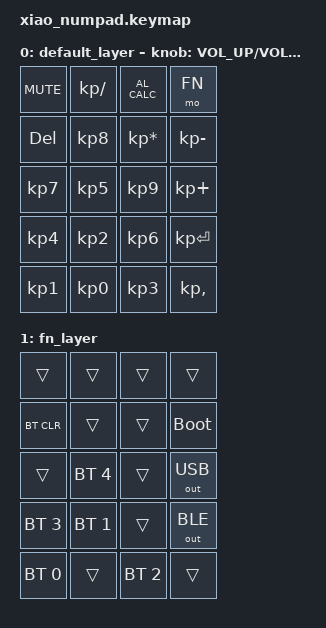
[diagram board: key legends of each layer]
#include <behaviors.dtsi>
#include <dt-bindings/zmk/keys.h>
#include <dt-bindings/zmk/bt.h>
#include <dt-bindings/zmk/outputs.h>

// Layers
#define DEFAULT 0
#define FN 1

/ {  
  keymap {
    compatible = "zmk,keymap";

    /* Default Layer
     * .---------------------------.
     * |  ENC | XIAO | CALC |  FN  |
     * |------+------+------+------|
     * |  DEL |   /  |   *  |   -  |
     * |------+------+------+------|
     * |   7  |   8  |   9  |      |
     * |------+------+------+   +  |
     * |   4  |   5  |   6  |      |
     * |------+------+------+------|
     * |   1  |   2  |   3  |   E  |
     * |------+------+------|   N  |
     * |      0      |   ,  |   T  |
     * '---------------------------'
     */

    default_layer {
      bindings = <
        &kp K_MUTE      &kp KP_DIVIDE   &kp C_AL_CALC     &mo FN
        &kp DEL         &kp KP_N8       &kp KP_MULTIPLY   &kp KP_MINUS
        &kp KP_N7       &kp KP_N5       &kp KP_N9         &kp KP_PLUS
        &kp KP_N4       &kp KP_N2       &kp KP_N6         &kp KP_ENTER
        &kp KP_N1       &kp KP_N0       &kp KP_N3         &kp KP_COMMA
      >;

      sensor-bindings = <
        &inc_dec_kp C_VOL_UP C_VOL_DN
      >;
    }; 
    
    /* Function Layer
     * .---------------------------.
     * | ENC  | XIAO |      |      |
     * |------+------+------+------|
     * | BT-C |      |      | BOOT |
     * |------+------+------+------|
     * |      |      |      | OUT  |
     * |------+------+------+      |
     * | BT-3 | BT-4 |      | USB  |
     * |------+------+------+------|
     * | BT-0 | BT-1 | BT-2 | OUT  |
     * |------+------+------|      |
     * |             |      | BLE  |
     * '---------------------------'
     */
    
    fn_layer {
      bindings = <
        &trans          &trans          &trans          &trans
        &bt BT_CLR      &trans          &trans          &bootloader
        &trans          &bt BT_SEL 4    &trans          &out OUT_USB
        &bt BT_SEL 3    &bt BT_SEL 1    &trans          &out OUT_BLE
        &bt BT_SEL 0    &trans          &bt BT_SEL 2    &trans
      >;
    };
  };
};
